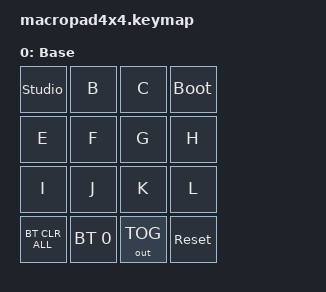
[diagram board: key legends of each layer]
#include <behaviors.dtsi>
#include <dt-bindings/zmk/bt.h>
#include <dt-bindings/zmk/keys.h>
#include <dt-bindings/zmk/outputs.h>

/ {
    keymap {
        compatible = "zmk,keymap";

        default_layer {
            display-name = "Base";
            bindings = <
&studio_unlock  &kp B         &kp C         &bootloader
&kp E           &kp F         &kp G         &kp H
&kp I           &kp J         &kp K         &kp L
&bt BT_CLR_ALL  &bt BT_SEL 0  &out OUT_TOG  &sys_reset
            >;
        };
    };
};
